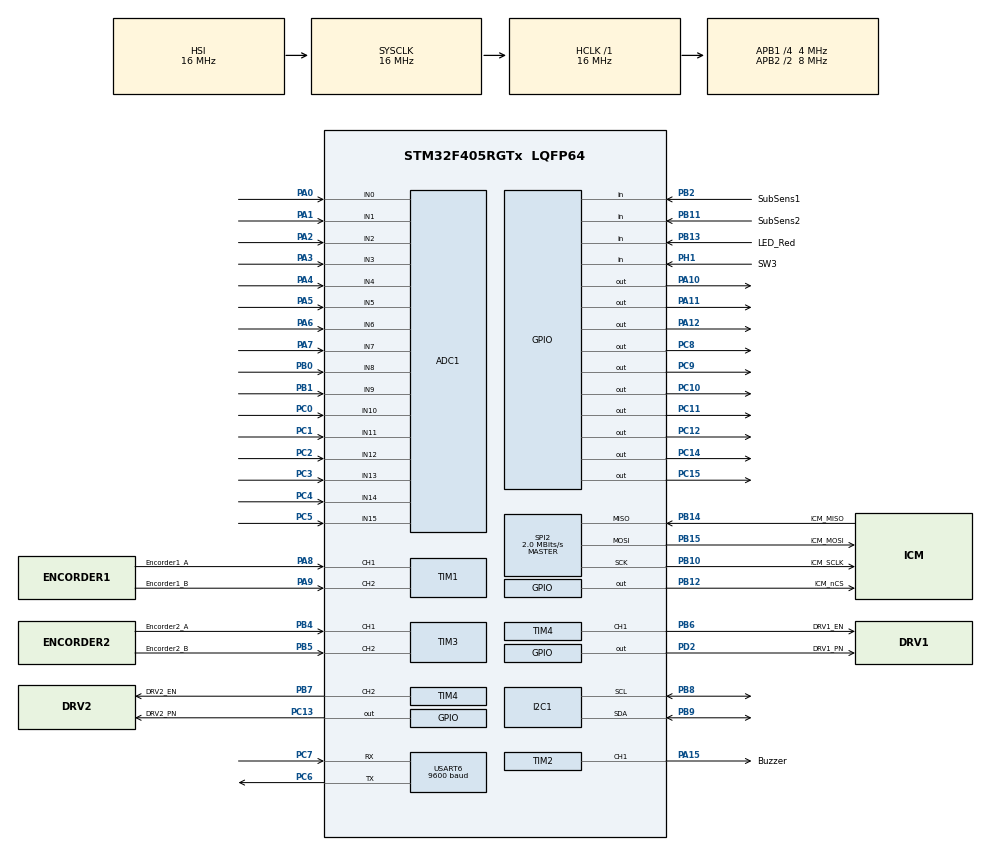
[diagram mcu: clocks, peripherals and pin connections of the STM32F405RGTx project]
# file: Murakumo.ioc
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ADC1.Channel-0\#ChannelRegularConversion=ADC_CHANNEL_0
ADC1.NbrOfConversionFlag=1
ADC1.Rank-0\#ChannelRegularConversion=1
ADC1.SamplingTime-0\#ChannelRegularConversion=ADC_SAMPLETIME_3CYCLES
ADC1.master=1
Mcu.Family=STM32F4
Mcu.Name=STM32F405RGTx
Mcu.Package=LQFP64
NVIC.PriorityGroup=NVIC_PRIORITYGROUP_4
PA0-WKUP.Signal=ADCx_IN0
PA1.Signal=ADCx_IN1
PA10.Signal=GPIO_Output
PA11.Signal=GPIO_Output
PA12.Signal=GPIO_Output
PA13.Mode=Trace_Asynchronous_SW
PA13.Signal=SYS_JTMS-SWDIO
PA14.Mode=Trace_Asynchronous_SW
PA14.Signal=SYS_JTCK-SWCLK
PA15.GPIO_Label=Buzzer
PA15.Signal=S_TIM2_CH1_ETR
PA2.Signal=ADCx_IN2
PA3.Signal=ADCx_IN3
PA4.Signal=ADCx_IN4
PA5.Signal=ADCx_IN5
PA6.Signal=ADCx_IN6
PA7.Signal=ADCx_IN7
PA8.GPIO_Label=Encorder1_A
PA8.Signal=S_TIM1_CH1
PA9.GPIO_Label=Encorder1_B
PA9.Signal=S_TIM1_CH2
PB0.Signal=ADCx_IN8
PB1.Signal=ADCx_IN9
PB10.GPIO_Label=ICM_SCLK
PB10.Mode=Full_Duplex_Master
PB10.Signal=SPI2_SCK
PB11.GPIO_Label=SubSens2
PB11.Signal=GPIO_Input
PB12.GPIO_Label=ICM_nCS
PB12.Signal=GPIO_Output
PB13.GPIO_Label=LED_Red
PB13.Signal=GPIO_Input
PB14.GPIO_Label=ICM_MISO
PB14.Mode=Full_Duplex_Master
PB14.Signal=SPI2_MISO
PB15.GPIO_Label=ICM_MOSI
PB15.Mode=Full_Duplex_Master
PB15.Signal=SPI2_MOSI
PB2.GPIO_Label=SubSens1
PB2.Signal=GPIO_Input
PB3.Mode=Trace_Asynchronous_SW
PB3.Signal=SYS_JTDO-SWO
PB4.GPIO_Label=Encorder2_A
PB4.Signal=S_TIM3_CH1
PB5.GPIO_Label=Encorder2_B
PB5.Signal=S_TIM3_CH2
PB6.GPIO_Label=DRV1_EN
PB6.Signal=S_TIM4_CH1
PB7.GPIO_Label=DRV2_EN
PB7.Signal=S_TIM4_CH2
PB8.Mode=I2C
PB8.Signal=I2C1_SCL
PB9.Mode=I2C
PB9.Signal=I2C1_SDA
PC0.Signal=ADCx_IN10
PC1.Signal=ADCx_IN11
PC10.Signal=GPIO_Output
PC11.Signal=GPIO_Output
PC12.Signal=GPIO_Output
PC13-ANTI_TAMP.GPIO_Label=DRV2_PN
PC13-ANTI_TAMP.Signal=GPIO_Output
PC14-OSC32_IN.Signal=GPIO_Output
PC15-OSC32_OUT.Signal=GPIO_Output
PC2.Signal=ADCx_IN12
PC3.Signal=ADCx_IN13
PC4.Signal=ADCx_IN14
PC5.Signal=ADCx_IN15
PC6.Mode=Asynchronous
PC6.Signal=USART6_TX
PC7.Mode=Asynchronous
PC7.Signal=USART6_RX
PC8.Signal=GPIO_Output
PC9.Signal=GPIO_Output
PD2.GPIO_Label=DRV1_PN
PD2.Signal=GPIO_Output
PH0-OSC_IN.Signal=RCC_OSC_IN
PH1-OSC_OUT.GPIO_Label=SW3
PH1-OSC_OUT.Signal=GPIO_Input
ProjectManager.HeapSize=0x200
ProjectManager.StackSize=0x400
ProjectManager.TargetToolchain=STM32CubeIDE
RCC.48MHZClocksFreq_Value=84000000
RCC.AHBFreq_Value=16000000
RCC.APB1CLKDivider=RCC_HCLK_DIV4
RCC.APB1Freq_Value=4000000
RCC.APB1TimFreq_Value=8000000
RCC.APB2CLKDivider=RCC_HCLK_DIV2
RCC.APB2Freq_Value=8000000
RCC.APB2TimFreq_Value=16000000
RCC.CortexFreq_Value=16000000
RCC.HCLKFreq_Value=16000000
RCC.HSE_VALUE=25000000
RCC.HSI_VALUE=16000000
RCC.LSE_VALUE=32768
RCC.PLLM=8
RCC.PLLN=168
RCC.SYSCLKFreq_VALUE=16000000
RCC.VCOOutputFreq_Value=336000000
SH.ADCx_IN0.0=ADC1_IN0,IN0
SH.ADCx_IN1.0=ADC1_IN1,IN1
SH.ADCx_IN10.0=ADC1_IN10,IN10
SH.ADCx_IN11.0=ADC1_IN11,IN11
SH.ADCx_IN12.0=ADC1_IN12,IN12
SH.ADCx_IN13.0=ADC1_IN13,IN13
SH.ADCx_IN14.0=ADC1_IN14,IN14
SH.ADCx_IN15.0=ADC1_IN15,IN15
SH.ADCx_IN2.0=ADC1_IN2,IN2
SH.ADCx_IN3.0=ADC1_IN3,IN3
SH.ADCx_IN4.0=ADC1_IN4,IN4
SH.ADCx_IN5.0=ADC1_IN5,IN5
SH.ADCx_IN6.0=ADC1_IN6,IN6
SH.ADCx_IN7.0=ADC1_IN7,IN7
SH.ADCx_IN8.0=ADC1_IN8,IN8
SH.ADCx_IN9.0=ADC1_IN9,IN9
SH.S_TIM1_CH1.0=TIM1_CH1,Encoder_Interface
SH.S_TIM1_CH2.0=TIM1_CH2,Encoder_Interface
SH.S_TIM2_CH1_ETR.0=TIM2_CH1,PWM Generation1 CH1
SH.S_TIM3_CH1.0=TIM3_CH1,Encoder_Interface
SH.S_TIM3_CH2.0=TIM3_CH2,Encoder_Interface
SH.S_TIM4_CH1.0=TIM4_CH1,PWM Generation1 CH1
SH.S_TIM4_CH2.0=TIM4_CH2,PWM Generation2 CH2
SPI2.BaudRatePrescaler=SPI_BAUDRATEPRESCALER_2
SPI2.CalculateBaudRate=2.0 MBits/s
SPI2.Direction=SPI_DIRECTION_2LINES
SPI2.Mode=SPI_MODE_MASTER
SPI2.VirtualType=VM_MASTER
TIM2.Channel-PWM\ Generation1\ CH1=TIM_CHANNEL_1
TIM4.Channel-PWM\ Generation1\ CH1=TIM_CHANNEL_1
TIM4.Channel-PWM\ Generation2\ CH2=TIM_CHANNEL_2
USART6.BaudRate=9600
USART6.VirtualMode=VM_ASYNC
board=custom

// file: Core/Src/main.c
/* USER CODE BEGIN Header */
/**
  ******************************************************************************
  * @file           : main.c
  * @brief          : Main program body
  ******************************************************************************
  * @attention
  *
  * Copyright (c) 2022 STMicroelectronics.
  * All rights reserved.
  *
  * This software is licensed under terms that can be found in the LICENSE file
  * in the root directory of this software component.
  * If no LICENSE file comes with this software, it is provided AS-IS.
  *
  ******************************************************************************
  */
/* USER CODE END Header */
#include "main.h"

/* USER CODE BEGIN Includes */

#include "stdio.h"

/* USER CODE END Includes */

/* USER CODE BEGIN PD */
#define UARTBUFFERSIZE 126
/* USER CODE END PD */

/* USER CODE BEGIN PM */
// Motor
#define DRV1_EN GPIOB,GPIO_PIN_6
#define DRV2_EN GPIOB,GPIO_PIN_7

// UI
#define LED_RED GPIOB,GPIO_PIN_13

/* USER CODE END PM */

ADC_HandleTypeDef hadc1;

I2C_HandleTypeDef hi2c1;

SPI_HandleTypeDef hspi2;

TIM_HandleTypeDef htim1;
TIM_HandleTypeDef htim2;
TIM_HandleTypeDef htim3;
TIM_HandleTypeDef htim4;

UART_HandleTypeDef huart6;

/* USER CODE BEGIN PV */
char uartbuffer[UARTBUFFERSIZE];

TIM_MasterConfigTypeDef sMasterConfig = {0};
TIM_OC_InitTypeDef sConfigOC = {0};

/* USER CODE END PV */

void SystemClock_Config(void);
static void MX_GPIO_Init(void);
static void MX_ADC1_Init(void);
static void MX_I2C1_Init(void);
static void MX_SPI2_Init(void);
static void MX_TIM1_Init(void);
static void MX_TIM2_Init(void);
static void MX_TIM3_Init(void);
static void MX_TIM4_Init(void);
static void MX_USART6_UART_Init(void);

int main(void)
{

  /* MCU Configuration--------------------------------------------------------*/

  /* Reset of all peripherals, Initializes the Flash interface and the Systick. */
  HAL_Init();

  /* Configure the system clock */
  SystemClock_Config();

  /* Initialize all configured peripherals */
  MX_GPIO_Init();
  MX_ADC1_Init();
  MX_I2C1_Init();
  MX_SPI2_Init();
  MX_TIM1_Init();
  MX_TIM2_Init();
  MX_TIM3_Init();
  MX_TIM4_Init();
  MX_USART6_UART_Init();
  /* USER CODE BEGIN 2 */

  HAL_GPIO_WritePin(LED_RED, GPIO_PIN_SET);

  HAL_GPIO_WritePin(DRV1_EN, GPIO_PIN_SET);
  HAL_GPIO_WritePin(DRV2_EN, GPIO_PIN_SET);

  /* USER CODE END 2 */

  /* Infinite loop */
  /* USER CODE BEGIN WHILE */
  while (1)
  {
	sConfigOC.Pulse = 100;
	if (HAL_TIM_PWM_ConfigChannel(&htim2, &sConfigOC, TIM_CHANNEL_1) != HAL_OK)
	{
		Error_Handler();
	}
	if (HAL_TIM_PWM_Start(&htim2, TIM_CHANNEL_1) != HAL_OK)
	{
		Error_Handler();
	}
	HAL_Delay(1000);

	sConfigOC.Pulse = 999;
	if (HAL_TIM_PWM_ConfigChannel(&htim2, &sConfigOC, TIM_CHANNEL_1) != HAL_OK)
	{
		Error_Handler();
	}
	if (HAL_TIM_PWM_Start(&htim2, TIM_CHANNEL_1) != HAL_OK)
	{
		Error_Handler();
	}
	HAL_Delay(1000);
    /* USER CODE END WHILE */

  }
}

void SystemClock_Config(void)
{
  RCC_OscInitTypeDef RCC_OscInitStruct = {0};
  RCC_ClkInitTypeDef RCC_ClkInitStruct = {0};

  /** Configure the main internal regulator output voltage
  */
  __HAL_RCC_PWR_CLK_ENABLE();
  __HAL_PWR_VOLTAGESCALING_CONFIG(PWR_REGULATOR_VOLTAGE_SCALE1);
  /** Initializes the RCC Oscillators according to the specified parameters
  * in the RCC_OscInitTypeDef structure.
  */
  RCC_OscInitStruct.OscillatorType = RCC_OSCILLATORTYPE_HSI;
  RCC_OscInitStruct.HSIState = RCC_HSI_ON;
  RCC_OscInitStruct.HSICalibrationValue = RCC_HSICALIBRATION_DEFAULT;
  RCC_OscInitStruct.PLL.PLLState = RCC_PLL_NONE;
  if (HAL_RCC_OscConfig(&RCC_OscInitStruct) != HAL_OK)
  {
    Error_Handler();
  }
  /** Initializes the CPU, AHB and APB buses clocks
  */
  RCC_ClkInitStruct.ClockType = RCC_CLOCKTYPE_HCLK|RCC_CLOCKTYPE_SYSCLK
                              |RCC_CLOCKTYPE_PCLK1|RCC_CLOCKTYPE_PCLK2;
  RCC_ClkInitStruct.SYSCLKSource = RCC_SYSCLKSOURCE_HSI;
  RCC_ClkInitStruct.AHBCLKDivider = RCC_SYSCLK_DIV1;
  RCC_ClkInitStruct.APB1CLKDivider = RCC_HCLK_DIV4;
  RCC_ClkInitStruct.APB2CLKDivider = RCC_HCLK_DIV2;

  if (HAL_RCC_ClockConfig(&RCC_ClkInitStruct, FLASH_LATENCY_0) != HAL_OK)
  {
    Error_Handler();
  }
}

static void MX_ADC1_Init(void)
{

  ADC_ChannelConfTypeDef sConfig = {0};

  /** Configure the global features of the ADC (Clock, Resolution, Data Alignment and number of conversion)
  */
  hadc1.Instance = ADC1;
  hadc1.Init.ClockPrescaler = ADC_CLOCK_SYNC_PCLK_DIV2;
  hadc1.Init.Resolution = ADC_RESOLUTION_12B;
  hadc1.Init.ScanConvMode = DISABLE;
  hadc1.Init.ContinuousConvMode = DISABLE;
  hadc1.Init.DiscontinuousConvMode = DISABLE;
  hadc1.Init.ExternalTrigConvEdge = ADC_EXTERNALTRIGCONVEDGE_NONE;
  hadc1.Init.ExternalTrigConv = ADC_SOFTWARE_START;
  hadc1.Init.DataAlign = ADC_DATAALIGN_RIGHT;
  hadc1.Init.NbrOfConversion = 1;
  hadc1.Init.DMAContinuousRequests = DISABLE;
  hadc1.Init.EOCSelection = ADC_EOC_SINGLE_CONV;
  if (HAL_ADC_Init(&hadc1) != HAL_OK)
  {
    Error_Handler();
  }
  /** Configure for the selected ADC regular channel its corresponding rank in the sequencer and its sample time.
  */
  sConfig.Channel = ADC_CHANNEL_0;
  sConfig.Rank = 1;
  sConfig.SamplingTime = ADC_SAMPLETIME_3CYCLES;
  if (HAL_ADC_ConfigChannel(&hadc1, &sConfig) != HAL_OK)
  {
    Error_Handler();
  }

}

static void MX_I2C1_Init(void)
{

  hi2c1.Instance = I2C1;
  hi2c1.Init.ClockSpeed = 100000;
  hi2c1.Init.DutyCycle = I2C_DUTYCYCLE_2;
  hi2c1.Init.OwnAddress1 = 0;
  hi2c1.Init.AddressingMode = I2C_ADDRESSINGMODE_7BIT;
  hi2c1.Init.DualAddressMode = I2C_DUALADDRESS_DISABLE;
  hi2c1.Init.OwnAddress2 = 0;
  hi2c1.Init.GeneralCallMode = I2C_GENERALCALL_DISABLE;
  hi2c1.Init.NoStretchMode = I2C_NOSTRETCH_DISABLE;
  if (HAL_I2C_Init(&hi2c1) != HAL_OK)
  {
    Error_Handler();
  }

}

static void MX_SPI2_Init(void)
{

  /* SPI2 parameter configuration*/
  hspi2.Instance = SPI2;
  hspi2.Init.Mode = SPI_MODE_MASTER;
  hspi2.Init.Direction = SPI_DIRECTION_2LINES;
  hspi2.Init.DataSize = SPI_DATASIZE_8BIT;
  hspi2.Init.CLKPolarity = SPI_POLARITY_LOW;
  hspi2.Init.CLKPhase = SPI_PHASE_1EDGE;
  hspi2.Init.NSS = SPI_NSS_SOFT;
  hspi2.Init.BaudRatePrescaler = SPI_BAUDRATEPRESCALER_2;
  hspi2.Init.FirstBit = SPI_FIRSTBIT_MSB;
  hspi2.Init.TIMode = SPI_TIMODE_DISABLE;
  hspi2.Init.CRCCalculation = SPI_CRCCALCULATION_DISABLE;
  hspi2.Init.CRCPolynomial = 10;
  if (HAL_SPI_Init(&hspi2) != HAL_OK)
  {
    Error_Handler();
  }

}

static void MX_TIM1_Init(void)
{

  TIM_Encoder_InitTypeDef sConfig = {0};
  TIM_MasterConfigTypeDef sMasterConfig = {0};

  htim1.Instance = TIM1;
  htim1.Init.Prescaler = 0;
  htim1.Init.CounterMode = TIM_COUNTERMODE_UP;
  htim1.Init.Period = 65535;
  htim1.Init.ClockDivision = TIM_CLOCKDIVISION_DIV1;
  htim1.Init.RepetitionCounter = 0;
  htim1.Init.AutoReloadPreload = TIM_AUTORELOAD_PRELOAD_DISABLE;
  sConfig.EncoderMode = TIM_ENCODERMODE_TI1;
  sConfig.IC1Polarity = TIM_ICPOLARITY_RISING;
  sConfig.IC1Selection = TIM_ICSELECTION_DIRECTTI;
  sConfig.IC1Prescaler = TIM_ICPSC_DIV1;
  sConfig.IC1Filter = 0;
  sConfig.IC2Polarity = TIM_ICPOLARITY_RISING;
  sConfig.IC2Selection = TIM_ICSELECTION_DIRECTTI;
  sConfig.IC2Prescaler = TIM_ICPSC_DIV1;
  sConfig.IC2Filter = 0;
  if (HAL_TIM_Encoder_Init(&htim1, &sConfig) != HAL_OK)
  {
    Error_Handler();
  }
  sMasterConfig.MasterOutputTrigger = TIM_TRGO_RESET;
  sMasterConfig.MasterSlaveMode = TIM_MASTERSLAVEMODE_DISABLE;
  if (HAL_TIMEx_MasterConfigSynchronization(&htim1, &sMasterConfig) != HAL_OK)
  {
    Error_Handler();
  }

}

static void MX_TIM2_Init(void)
{

  TIM_MasterConfigTypeDef sMasterConfig = {0};
  TIM_OC_InitTypeDef sConfigOC = {0};

  htim2.Instance = TIM2;
  htim2.Init.Prescaler = 0;
  htim2.Init.CounterMode = TIM_COUNTERMODE_UP;
  htim2.Init.Period = 4294967295;
  htim2.Init.ClockDivision = TIM_CLOCKDIVISION_DIV1;
  htim2.Init.AutoReloadPreload = TIM_AUTORELOAD_PRELOAD_DISABLE;
  if (HAL_TIM_PWM_Init(&htim2) != HAL_OK)
  {
    Error_Handler();
  }
  sMasterConfig.MasterOutputTrigger = TIM_TRGO_RESET;
  sMasterConfig.MasterSlaveMode = TIM_MASTERSLAVEMODE_DISABLE;
  if (HAL_TIMEx_MasterConfigSynchronization(&htim2, &sMasterConfig) != HAL_OK)
  {
    Error_Handler();
  }
  sConfigOC.OCMode = TIM_OCMODE_PWM1;
  sConfigOC.Pulse = 0;
  sConfigOC.OCPolarity = TIM_OCPOLARITY_HIGH;
  sConfigOC.OCFastMode = TIM_OCFAST_DISABLE;
  if (HAL_TIM_PWM_ConfigChannel(&htim2, &sConfigOC, TIM_CHANNEL_1) != HAL_OK)
  {
    Error_Handler();
  }
  HAL_TIM_MspPostInit(&htim2);

}

static void MX_TIM3_Init(void)
{

  TIM_Encoder_InitTypeDef sConfig = {0};
  TIM_MasterConfigTypeDef sMasterConfig = {0};

  htim3.Instance = TIM3;
  htim3.Init.Prescaler = 0;
  htim3.Init.CounterMode = TIM_COUNTERMODE_UP;
  htim3.Init.Period = 65535;
  htim3.Init.ClockDivision = TIM_CLOCKDIVISION_DIV1;
  htim3.Init.AutoReloadPreload = TIM_AUTORELOAD_PRELOAD_DISABLE;
  sConfig.EncoderMode = TIM_ENCODERMODE_TI1;
  sConfig.IC1Polarity = TIM_ICPOLARITY_RISING;
  sConfig.IC1Selection = TIM_ICSELECTION_DIRECTTI;
  sConfig.IC1Prescaler = TIM_ICPSC_DIV1;
  sConfig.IC1Filter = 0;
  sConfig.IC2Polarity = TIM_ICPOLARITY_RISING;
  sConfig.IC2Selection = TIM_ICSELECTION_DIRECTTI;
  sConfig.IC2Prescaler = TIM_ICPSC_DIV1;
  sConfig.IC2Filter = 0;
  if (HAL_TIM_Encoder_Init(&htim3, &sConfig) != HAL_OK)
  {
    Error_Handler();
  }
  sMasterConfig.MasterOutputTrigger = TIM_TRGO_RESET;
  sMasterConfig.MasterSlaveMode = TIM_MASTERSLAVEMODE_DISABLE;
  if (HAL_TIMEx_MasterConfigSynchronization(&htim3, &sMasterConfig) != HAL_OK)
  {
    Error_Handler();
  }

}

static void MX_TIM4_Init(void)
{

  TIM_MasterConfigTypeDef sMasterConfig = {0};
  TIM_OC_InitTypeDef sConfigOC = {0};

  htim4.Instance = TIM4;
  htim4.Init.Prescaler = 0;
  htim4.Init.CounterMode = TIM_COUNTERMODE_UP;
  htim4.Init.Period = 65535;
  htim4.Init.ClockDivision = TIM_CLOCKDIVISION_DIV1;
  htim4.Init.AutoReloadPreload = TIM_AUTORELOAD_PRELOAD_DISABLE;
  if (HAL_TIM_PWM_Init(&htim4) != HAL_OK)
  {
    Error_Handler();
  }
  sMasterConfig.MasterOutputTrigger = TIM_TRGO_RESET;
  sMasterConfig.MasterSlaveMode = TIM_MASTERSLAVEMODE_DISABLE;
  if (HAL_TIMEx_MasterConfigSynchronization(&htim4, &sMasterConfig) != HAL_OK)
  {
    Error_Handler();
  }
  sConfigOC.OCMode = TIM_OCMODE_PWM1;
  sConfigOC.Pulse = 0;
  sConfigOC.OCPolarity = TIM_OCPOLARITY_HIGH;
  sConfigOC.OCFastMode = TIM_OCFAST_DISABLE;
  if (HAL_TIM_PWM_ConfigChannel(&htim4, &sConfigOC, TIM_CHANNEL_1) != HAL_OK)
  {
    Error_Handler();
  }
  if (HAL_TIM_PWM_ConfigChannel(&htim4, &sConfigOC, TIM_CHANNEL_2) != HAL_OK)
  {
    Error_Handler();
  }
  HAL_TIM_MspPostInit(&htim4);

}

static void MX_USART6_UART_Init(void)
{

  huart6.Instance = USART6;
  huart6.Init.BaudRate = 9600;
  huart6.Init.WordLength = UART_WORDLENGTH_8B;
  huart6.Init.StopBits = UART_STOPBITS_1;
  huart6.Init.Parity = UART_PARITY_NONE;
  huart6.Init.Mode = UART_MODE_TX_RX;
  huart6.Init.HwFlowCtl = UART_HWCONTROL_NONE;
  huart6.Init.OverSampling = UART_OVERSAMPLING_16;
  if (HAL_UART_Init(&huart6) != HAL_OK)
  {
    Error_Handler();
  }

}

static void MX_GPIO_Init(void)
{
  GPIO_InitTypeDef GPIO_InitStruct = {0};

  /* GPIO Ports Clock Enable */
  __HAL_RCC_GPIOC_CLK_ENABLE();
  __HAL_RCC_GPIOH_CLK_ENABLE();
  __HAL_RCC_GPIOA_CLK_ENABLE();
  __HAL_RCC_GPIOB_CLK_ENABLE();
  __HAL_RCC_GPIOD_CLK_ENABLE();

  /*Configure GPIO pin Output Level */
  HAL_GPIO_WritePin(GPIOC, DRV2_PN_Pin|GPIO_PIN_14|GPIO_PIN_15|GPIO_PIN_8
                          |GPIO_PIN_9|GPIO_PIN_10|GPIO_PIN_11|GPIO_PIN_12, GPIO_PIN_RESET);

  /*Configure GPIO pin Output Level */
  HAL_GPIO_WritePin(ICM_nCS_GPIO_Port, ICM_nCS_Pin, GPIO_PIN_RESET);

  /*Configure GPIO pin Output Level */
  HAL_GPIO_WritePin(GPIOA, GPIO_PIN_10|GPIO_PIN_11|GPIO_PIN_12, GPIO_PIN_RESET);

  /*Configure GPIO pin Output Level */
  HAL_GPIO_WritePin(DRV1_PN_GPIO_Port, DRV1_PN_Pin, GPIO_PIN_RESET);

  /*Configure GPIO pins : DRV2_PN_Pin PC14 PC15 PC8
                           PC9 PC10 PC11 PC12 */
  GPIO_InitStruct.Pin = DRV2_PN_Pin|GPIO_PIN_14|GPIO_PIN_15|GPIO_PIN_8
                          |GPIO_PIN_9|GPIO_PIN_10|GPIO_PIN_11|GPIO_PIN_12;
  GPIO_InitStruct.Mode = GPIO_MODE_OUTPUT_PP;
  GPIO_InitStruct.Pull = GPIO_NOPULL;
  GPIO_InitStruct.Speed = GPIO_SPEED_FREQ_LOW;
  HAL_GPIO_Init(GPIOC, &GPIO_InitStruct);

  /*Configure GPIO pin : SW3_Pin */
  GPIO_InitStruct.Pin = SW3_Pin;
  GPIO_InitStruct.Mode = GPIO_MODE_INPUT;
  GPIO_InitStruct.Pull = GPIO_NOPULL;
  HAL_GPIO_Init(SW3_GPIO_Port, &GPIO_InitStruct);

  /*Configure GPIO pins : SubSens1_Pin SubSens2_Pin LED_Red_Pin */
  GPIO_InitStruct.Pin = SubSens1_Pin|SubSens2_Pin|LED_Red_Pin;
  GPIO_InitStruct.Mode = GPIO_MODE_INPUT;
  GPIO_InitStruct.Pull = GPIO_NOPULL;
  HAL_GPIO_Init(GPIOB, &GPIO_InitStruct);

  /*Configure GPIO pin : ICM_nCS_Pin */
  GPIO_InitStruct.Pin = ICM_nCS_Pin;
  GPIO_InitStruct.Mode = GPIO_MODE_OUTPUT_PP;
  GPIO_InitStruct.Pull = GPIO_NOPULL;
  GPIO_InitStruct.Speed = GPIO_SPEED_FREQ_LOW;
  HAL_GPIO_Init(ICM_nCS_GPIO_Port, &GPIO_InitStruct);

  /*Configure GPIO pins : PA10 PA11 PA12 */
  GPIO_InitStruct.Pin = GPIO_PIN_10|GPIO_PIN_11|GPIO_PIN_12;
  GPIO_InitStruct.Mode = GPIO_MODE_OUTPUT_PP;
  GPIO_InitStruct.Pull = GPIO_NOPULL;
  GPIO_InitStruct.Speed = GPIO_SPEED_FREQ_LOW;
  HAL_GPIO_Init(GPIOA, &GPIO_InitStruct);

  /*Configure GPIO pin : DRV1_PN_Pin */
  GPIO_InitStruct.Pin = DRV1_PN_Pin;
  GPIO_InitStruct.Mode = GPIO_MODE_OUTPUT_PP;
  GPIO_InitStruct.Pull = GPIO_NOPULL;
  GPIO_InitStruct.Speed = GPIO_SPEED_FREQ_LOW;
  HAL_GPIO_Init(DRV1_PN_GPIO_Port, &GPIO_InitStruct);

}

void Error_Handler(void)
{
  __disable_irq();
  while (1)
  {
  }
}
